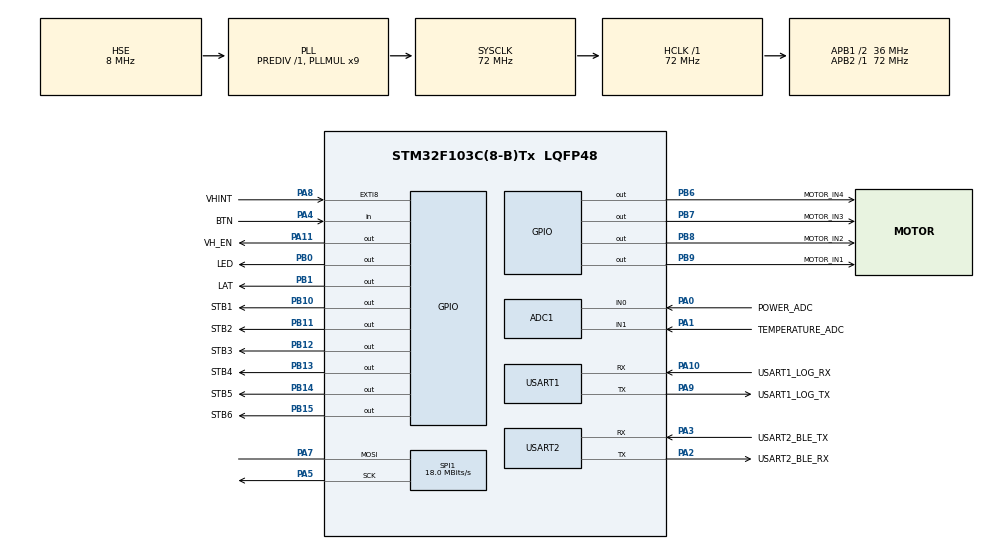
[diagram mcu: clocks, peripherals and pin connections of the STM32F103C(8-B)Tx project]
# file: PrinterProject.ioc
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ADC1.Channel-0\#ChannelRegularConversion=ADC_CHANNEL_0
ADC1.Channel-1\#ChannelRegularConversion=ADC_CHANNEL_1
ADC1.ContinuousConvMode=DISABLE
ADC1.DiscontinuousConvMode=ENABLE
ADC1.NbrOfConversion=2
ADC1.NbrOfConversionFlag=1
ADC1.Rank-0\#ChannelRegularConversion=1
ADC1.Rank-1\#ChannelRegularConversion=2
ADC1.SamplingTime-0\#ChannelRegularConversion=ADC_SAMPLETIME_239CYCLES_5
ADC1.SamplingTime-1\#ChannelRegularConversion=ADC_SAMPLETIME_239CYCLES_5
ADC1.master=1
FREERTOS.Tasks01=defaultTask,0,128,StartDefaultTask,Default,NULL,Dynamic,NULL,NULL
FREERTOS.configTOTAL_HEAP_SIZE=4072
FREERTOS.configUSE_TIMERS=1
Mcu.Family=STM32F1
Mcu.Name=STM32F103C(8-B)Tx
Mcu.Package=LQFP48
NVIC.PriorityGroup=NVIC_PRIORITYGROUP_4
NVIC.TIM4_IRQn=true\:15\:0\:false\:false\:true\:false\:false\:true\:true
NVIC.TimeBase=TIM4_IRQn
NVIC.TimeBaseIP=TIM4
PA0-WKUP.GPIO_Label=POWER_ADC
PA0-WKUP.Signal=ADCx_IN0
PA1.GPIO_Label=TEMPERATURE_ADC
PA1.Signal=ADCx_IN1
PA10.GPIO_Label=USART1_LOG_RX
PA10.Mode=Asynchronous
PA10.Signal=USART1_RX
PA11.GPIO_Label=VH_EN
PA11.Signal=GPIO_Output
PA13.Mode=Serial_Wire
PA13.Signal=SYS_JTMS-SWDIO
PA14.Mode=Serial_Wire
PA14.Signal=SYS_JTCK-SWCLK
PA2.GPIO_Label=USART2_BLE_RX
PA2.Mode=Asynchronous
PA2.Signal=USART2_TX
PA3.GPIO_Label=USART2_BLE_TX
PA3.Mode=Asynchronous
PA3.Signal=USART2_RX
PA4.GPIO_Label=BTN
PA4.GPIO_PuPd=GPIO_PULLUP
PA4.Signal=GPIO_Input
PA5.Mode=Simplex_Bidirectional_Master
PA5.Signal=SPI1_SCK
PA7.Mode=Simplex_Bidirectional_Master
PA7.Signal=SPI1_MOSI
PA8.GPIO_Label=VHINT
PA8.Signal=GPXTI8
PA9.GPIO_Label=USART1_LOG_TX
PA9.Mode=Asynchronous
PA9.Signal=USART1_TX
PB0.GPIO_Label=LED
PB0.GPIO_PuPd=GPIO_PULLUP
PB0.Signal=GPIO_Output
PB1.GPIO_Label=LAT
PB1.GPIO_PuPd=GPIO_PULLUP
PB1.PinState=GPIO_PIN_SET
PB1.Signal=GPIO_Output
PB10.GPIO_Label=STB1
PB10.Signal=GPIO_Output
PB11.GPIO_Label=STB2
PB11.Signal=GPIO_Output
PB12.GPIO_Label=STB3
PB12.Signal=GPIO_Output
PB13.GPIO_Label=STB4
PB13.Signal=GPIO_Output
PB14.GPIO_Label=STB5
PB14.Signal=GPIO_Output
PB15.GPIO_Label=STB6
PB15.Signal=GPIO_Output
PB6.GPIO_Label=MOTOR_IN4
PB6.Signal=GPIO_Output
PB7.GPIO_Label=MOTOR_IN3
PB7.Signal=GPIO_Output
PB8.GPIO_Label=MOTOR_IN2
PB8.Signal=GPIO_Output
PB9.GPIO_Label=MOTOR_IN1
PB9.Signal=GPIO_Output
PD0-OSC_IN.Mode=HSE-External-Oscillator
PD0-OSC_IN.Signal=RCC_OSC_IN
PD1-OSC_OUT.Mode=HSE-External-Oscillator
PD1-OSC_OUT.Signal=RCC_OSC_OUT
ProjectManager.HeapSize=0x200
ProjectManager.StackSize=0x400
ProjectManager.TargetToolchain=MDK-ARM V5.27
RCC.ADCPresc=RCC_ADCPCLK2_DIV6
RCC.AHBFreq_Value=72000000
RCC.APB1CLKDivider=RCC_HCLK_DIV2
RCC.APB1Freq_Value=36000000
RCC.APB1TimFreq_Value=72000000
RCC.APB2Freq_Value=72000000
RCC.APB2TimFreq_Value=72000000
RCC.HCLKFreq_Value=72000000
RCC.PLLMUL=RCC_PLL_MUL9
RCC.PLLSourceVirtual=RCC_PLLSOURCE_HSE
RCC.SYSCLKFreq_VALUE=72000000
RCC.SYSCLKSource=RCC_SYSCLKSOURCE_PLLCLK
RCC.USBFreq_Value=72000000
SH.ADCx_IN0.0=ADC1_IN0,IN0
SH.ADCx_IN1.0=ADC1_IN1,IN1
SPI1.BaudRatePrescaler=SPI_BAUDRATEPRESCALER_4
SPI1.CalculateBaudRate=18.0 MBits/s
SPI1.Direction=SPI_DIRECTION_1LINE
SPI1.Mode=SPI_MODE_MASTER
SPI1.VirtualType=VM_MASTER
TIM1.Prescaler=71
USART1.VirtualMode=VM_ASYNC
USART2.VirtualMode=VM_ASYNC
VP_FREERTOS_VS_CMSIS_V1.Mode=CMSIS_V1
VP_SYS_VS_tim4.Mode=TIM4
VP_TIM1_VS_ClockSourceINT.Mode=Internal
board=custom

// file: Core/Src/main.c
/* USER CODE BEGIN Header */
/**
  ******************************************************************************
  * @file           : main.c
  * @brief          : Main program body
  ******************************************************************************
  * @attention
  *
  * Copyright (c) 2024 STMicroelectronics.
  * All rights reserved.
  *
  * This software is licensed under terms that can be found in the LICENSE file
  * in the root directory of this software component.
  * If no LICENSE file comes with this software, it is provided AS-IS.
  *
  ******************************************************************************
  */
/* USER CODE END Header */
#include "main.h"
#include "cmsis_os.h"
#include "adc.h"
#include "spi.h"
#include "tim.h"
#include "usart.h"
#include "gpio.h"

/* USER CODE BEGIN Includes */
//#include "TestPrinter.h"
#include "Au_Printer.h"

/* USER CODE END Includes */

void SystemClock_Config(void);
void MX_FREERTOS_Init(void);

/* USER CODE BEGIN 0 */

void task_test(void * arg)
{
    Init_Printer();
    TestSTB();
//    init_printer();
//    testSTB();
//
    while (1) {
        HAL_GPIO_WritePin(LED_GPIO_Port, LED_Pin, GPIO_PIN_RESET);
        vTaskDelay(1000);
        HAL_GPIO_WritePin(LED_GPIO_Port, LED_Pin, GPIO_PIN_SET);
        vTaskDelay(1000);
    }
}

/* USER CODE END 0 */

int main(void)
{

  /* MCU Configuration--------------------------------------------------------*/

  /* Reset of all peripherals, Initializes the Flash interface and the Systick. */
  HAL_Init();

  /* Configure the system clock */
  SystemClock_Config();

  /* Initialize all configured peripherals */
  MX_GPIO_Init();
  MX_ADC1_Init();
  MX_SPI1_Init();
  MX_TIM1_Init();
  MX_USART1_UART_Init();
  MX_USART2_UART_Init();
  /* USER CODE BEGIN 2 */

  //PRINT_DEBUG("Debug no error!");
  printf("debug no error!");

  xTaskCreate(task_test, "test", 128, NULL, 1, NULL);

  /* USER CODE END 2 */

  /* Call init function for freertos objects (in freertos.c) */
  MX_FREERTOS_Init();

  /* Start scheduler */
  osKernelStart();

  /* We should never get here as control is now taken by the scheduler */
  /* Infinite loop */
  while (1)
  {

  }
}

void SystemClock_Config(void)
{
  RCC_OscInitTypeDef RCC_OscInitStruct = {0};
  RCC_ClkInitTypeDef RCC_ClkInitStruct = {0};
  RCC_PeriphCLKInitTypeDef PeriphClkInit = {0};

  /** Initializes the RCC Oscillators according to the specified parameters
  * in the RCC_OscInitTypeDef structure.
  */
  RCC_OscInitStruct.OscillatorType = RCC_OSCILLATORTYPE_HSE;
  RCC_OscInitStruct.HSEState = RCC_HSE_ON;
  RCC_OscInitStruct.HSEPredivValue = RCC_HSE_PREDIV_DIV1;
  RCC_OscInitStruct.HSIState = RCC_HSI_ON;
  RCC_OscInitStruct.PLL.PLLState = RCC_PLL_ON;
  RCC_OscInitStruct.PLL.PLLSource = RCC_PLLSOURCE_HSE;
  RCC_OscInitStruct.PLL.PLLMUL = RCC_PLL_MUL9;
  if (HAL_RCC_OscConfig(&RCC_OscInitStruct) != HAL_OK)
  {
    Error_Handler();
  }

  /** Initializes the CPU, AHB and APB buses clocks
  */
  RCC_ClkInitStruct.ClockType = RCC_CLOCKTYPE_HCLK|RCC_CLOCKTYPE_SYSCLK
                              |RCC_CLOCKTYPE_PCLK1|RCC_CLOCKTYPE_PCLK2;
  RCC_ClkInitStruct.SYSCLKSource = RCC_SYSCLKSOURCE_PLLCLK;
  RCC_ClkInitStruct.AHBCLKDivider = RCC_SYSCLK_DIV1;
  RCC_ClkInitStruct.APB1CLKDivider = RCC_HCLK_DIV2;
  RCC_ClkInitStruct.APB2CLKDivider = RCC_HCLK_DIV1;

  if (HAL_RCC_ClockConfig(&RCC_ClkInitStruct, FLASH_LATENCY_2) != HAL_OK)
  {
    Error_Handler();
  }
  PeriphClkInit.PeriphClockSelection = RCC_PERIPHCLK_ADC;
  PeriphClkInit.AdcClockSelection = RCC_ADCPCLK2_DIV6;
  if (HAL_RCCEx_PeriphCLKConfig(&PeriphClkInit) != HAL_OK)
  {
    Error_Handler();
  }
}

/* USER CODE BEGIN 4 */

//串口printf重定�?
#ifdef __GNUC__
  /* With GCC/RAISONANCE, small printf (option LD Linker->Libraries->Small printf
     set to 'Yes') calls __io_putchar() */
  #define PUTCHAR_PROTOTYPE int __io_putchar(int ch)
#else
  #define PUTCHAR_PROTOTYPE int fputc(int ch, FILE *f)
#endif /* __GNUC__ */
/**
  * @brief  Retargets the C library printf function to the USART.
  * @param  None
  * @retval None
  */
PUTCHAR_PROTOTYPE
{
  /* Place your implementation of fputc here */
  /* e.g. write a character to the EVAL_COM1 and Loop until the end of transmission */
  HAL_UART_Transmit(&huart1, (uint8_t *)&ch, 1, 0xFFFF);

  return ch;
}

/* USER CODE END 4 */

void HAL_TIM_PeriodElapsedCallback(TIM_HandleTypeDef *htim)
{
  if (htim->Instance == TIM4) {
    HAL_IncTick();
  }
}

void Error_Handler(void)
{
  __disable_irq();
  while (1)
  {
  }
}

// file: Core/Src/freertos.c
/* USER CODE BEGIN Header */
/**
  ******************************************************************************
  * File Name          : freertos.c
  * Description        : Code for freertos applications
  ******************************************************************************
  * @attention
  *
  * Copyright (c) 2024 STMicroelectronics.
  * All rights reserved.
  *
  * This software is licensed under terms that can be found in the LICENSE file
  * in the root directory of this software component.
  * If no LICENSE file comes with this software, it is provided AS-IS.
  *
  ******************************************************************************
  */
/* USER CODE END Header */

#include "FreeRTOS.h"
#include "task.h"
#include "main.h"
#include "cmsis_os.h"

osThreadId defaultTaskHandle;

void StartDefaultTask(void const * argument);

void MX_FREERTOS_Init(void); /* (MISRA C 2004 rule 8.1) */

/* GetIdleTaskMemory prototype (linked to static allocation support) */
void vApplicationGetIdleTaskMemory( StaticTask_t **ppxIdleTaskTCBBuffer, StackType_t **ppxIdleTaskStackBuffer, uint32_t *pulIdleTaskStackSize );

/* GetTimerTaskMemory prototype (linked to static allocation support) */
void vApplicationGetTimerTaskMemory( StaticTask_t **ppxTimerTaskTCBBuffer, StackType_t **ppxTimerTaskStackBuffer, uint32_t *pulTimerTaskStackSize );

/* USER CODE BEGIN GET_IDLE_TASK_MEMORY */
static StaticTask_t xIdleTaskTCBBuffer;
static StackType_t xIdleStack[configMINIMAL_STACK_SIZE];

void vApplicationGetIdleTaskMemory( StaticTask_t **ppxIdleTaskTCBBuffer, StackType_t **ppxIdleTaskStackBuffer, uint32_t *pulIdleTaskStackSize )
{
  *ppxIdleTaskTCBBuffer = &xIdleTaskTCBBuffer;
  *ppxIdleTaskStackBuffer = &xIdleStack[0];
  *pulIdleTaskStackSize = configMINIMAL_STACK_SIZE;
  /* place for user code */
}
/* USER CODE END GET_IDLE_TASK_MEMORY */

/* USER CODE BEGIN GET_TIMER_TASK_MEMORY */
static StaticTask_t xTimerTaskTCBBuffer;
static StackType_t xTimerStack[configTIMER_TASK_STACK_DEPTH];

void vApplicationGetTimerTaskMemory( StaticTask_t **ppxTimerTaskTCBBuffer, StackType_t **ppxTimerTaskStackBuffer, uint32_t *pulTimerTaskStackSize )
{
  *ppxTimerTaskTCBBuffer = &xTimerTaskTCBBuffer;
  *ppxTimerTaskStackBuffer = &xTimerStack[0];
  *pulTimerTaskStackSize = configTIMER_TASK_STACK_DEPTH;
  /* place for user code */
}
/* USER CODE END GET_TIMER_TASK_MEMORY */

void MX_FREERTOS_Init(void) {

  /* Create the thread(s) */
  /* definition and creation of defaultTask */
  osThreadDef(defaultTask, StartDefaultTask, osPriorityNormal, 0, 128);
  defaultTaskHandle = osThreadCreate(osThread(defaultTask), NULL);

}

void StartDefaultTask(void const * argument)
{
  for(;;)
  {
    osDelay(1);
  }
}
